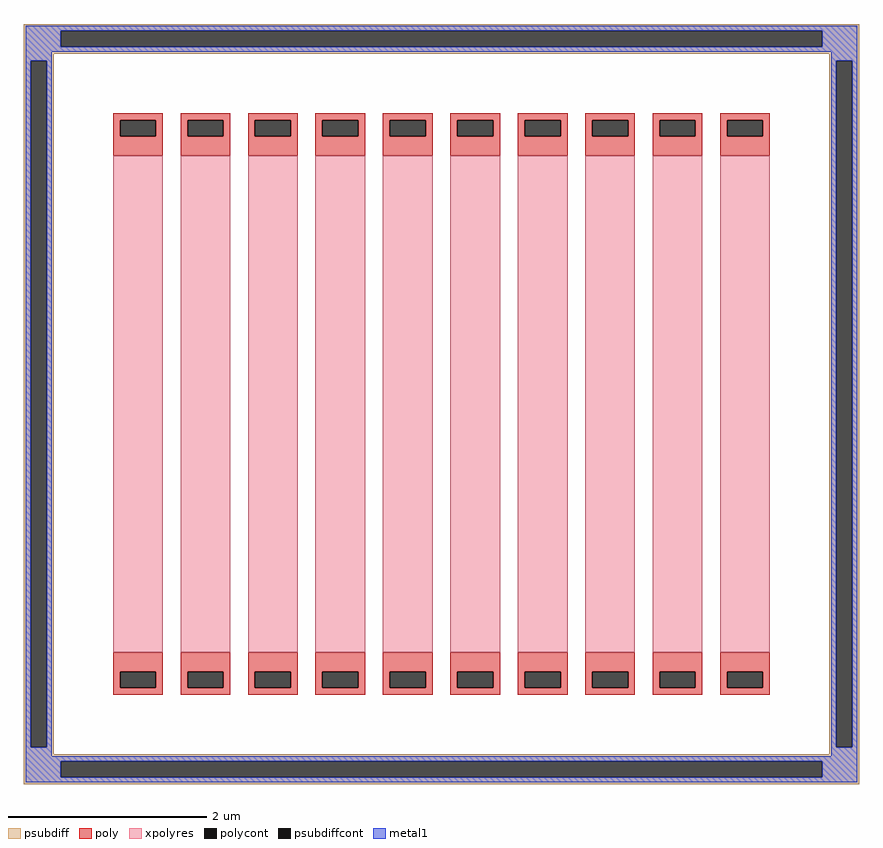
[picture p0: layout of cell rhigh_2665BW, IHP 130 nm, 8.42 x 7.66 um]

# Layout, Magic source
magic
tech ihp-sg13g2
<< psubdiff >>
rect -115 376 727 383
rect -115 360 -78 376
rect 690 360 727 376
rect -115 353 727 360
rect -115 346 -85 353
rect -115 -346 -108 346
rect -92 -346 -85 346
rect 697 346 727 353
rect -115 -353 -85 -346
rect 697 -346 704 346
rect 720 -346 727 346
rect 697 -353 727 -346
rect -115 -360 727 -353
rect -115 -376 -78 -360
rect 690 -376 727 -360
rect -115 -383 727 -376
<< psubdiffcont >>
rect -78 360 690 376
rect -108 -346 -92 346
rect 704 -346 720 346
rect -78 -376 690 -360
<< poly >>
rect -25 286 25 293
rect -25 270 -18 286
rect 18 270 25 286
rect -25 250 25 270
rect -25 -270 25 -250
rect -25 -286 -18 -270
rect 18 -286 25 -270
rect -25 -293 25 -286
rect 43 286 93 293
rect 43 270 50 286
rect 86 270 93 286
rect 43 250 93 270
rect 43 -270 93 -250
rect 43 -286 50 -270
rect 86 -286 93 -270
rect 43 -293 93 -286
rect 111 286 161 293
rect 111 270 118 286
rect 154 270 161 286
rect 111 250 161 270
rect 111 -270 161 -250
rect 111 -286 118 -270
rect 154 -286 161 -270
rect 111 -293 161 -286
rect 179 286 229 293
rect 179 270 186 286
rect 222 270 229 286
rect 179 250 229 270
rect 179 -270 229 -250
rect 179 -286 186 -270
rect 222 -286 229 -270
rect 179 -293 229 -286
rect 247 286 297 293
rect 247 270 254 286
rect 290 270 297 286
rect 247 250 297 270
rect 247 -270 297 -250
rect 247 -286 254 -270
rect 290 -286 297 -270
rect 247 -293 297 -286
rect 315 286 365 293
rect 315 270 322 286
rect 358 270 365 286
rect 315 250 365 270
rect 315 -270 365 -250
rect 315 -286 322 -270
rect 358 -286 365 -270
rect 315 -293 365 -286
rect 383 286 433 293
rect 383 270 390 286
rect 426 270 433 286
rect 383 250 433 270
rect 383 -270 433 -250
rect 383 -286 390 -270
rect 426 -286 433 -270
rect 383 -293 433 -286
rect 451 286 501 293
rect 451 270 458 286
rect 494 270 501 286
rect 451 250 501 270
rect 451 -270 501 -250
rect 451 -286 458 -270
rect 494 -286 501 -270
rect 451 -293 501 -286
rect 519 286 569 293
rect 519 270 526 286
rect 562 270 569 286
rect 519 250 569 270
rect 519 -270 569 -250
rect 519 -286 526 -270
rect 562 -286 569 -270
rect 519 -293 569 -286
rect 587 286 637 293
rect 587 270 594 286
rect 630 270 637 286
rect 587 250 637 270
rect 587 -270 637 -250
rect 587 -286 594 -270
rect 630 -286 637 -270
rect 587 -293 637 -286
<< polycont >>
rect -18 270 18 286
rect -18 -286 18 -270
rect 50 270 86 286
rect 50 -286 86 -270
rect 118 270 154 286
rect 118 -286 154 -270
rect 186 270 222 286
rect 186 -286 222 -270
rect 254 270 290 286
rect 254 -286 290 -270
rect 322 270 358 286
rect 322 -286 358 -270
rect 390 270 426 286
rect 390 -286 426 -270
rect 458 270 494 286
rect 458 -286 494 -270
rect 526 270 562 286
rect 526 -286 562 -270
rect 594 270 630 286
rect 594 -286 630 -270
<< xpolyres >>
rect -25 -250 25 250
rect 43 -250 93 250
rect 111 -250 161 250
rect 179 -250 229 250
rect 247 -250 297 250
rect 315 -250 365 250
rect 383 -250 433 250
rect 451 -250 501 250
rect 519 -250 569 250
rect 587 -250 637 250
<< metal1 >>
rect -113 376 725 381
rect -113 360 -78 376
rect 690 360 725 376
rect -113 355 725 360
rect -113 346 -87 355
rect -113 -346 -108 346
rect -92 -346 -87 346
rect 699 346 725 355
rect -113 -355 -87 -346
rect 699 -346 704 346
rect 720 -346 725 346
rect 699 -355 725 -346
rect -113 -360 725 -355
rect -113 -376 -78 -360
rect 690 -376 725 -360
rect -113 -381 725 -376
<< properties >>
string gencell rhigh
string library sg13g2_devstdin
string parameters w 0.5 l 5 nx 10 dx 0.18 ny 1 dy 0.18 wmin 0.50 lmin 0.50 class resistor endcov 0 glc 1 grc 1 gtc 1 gbc 1
<< end >>
